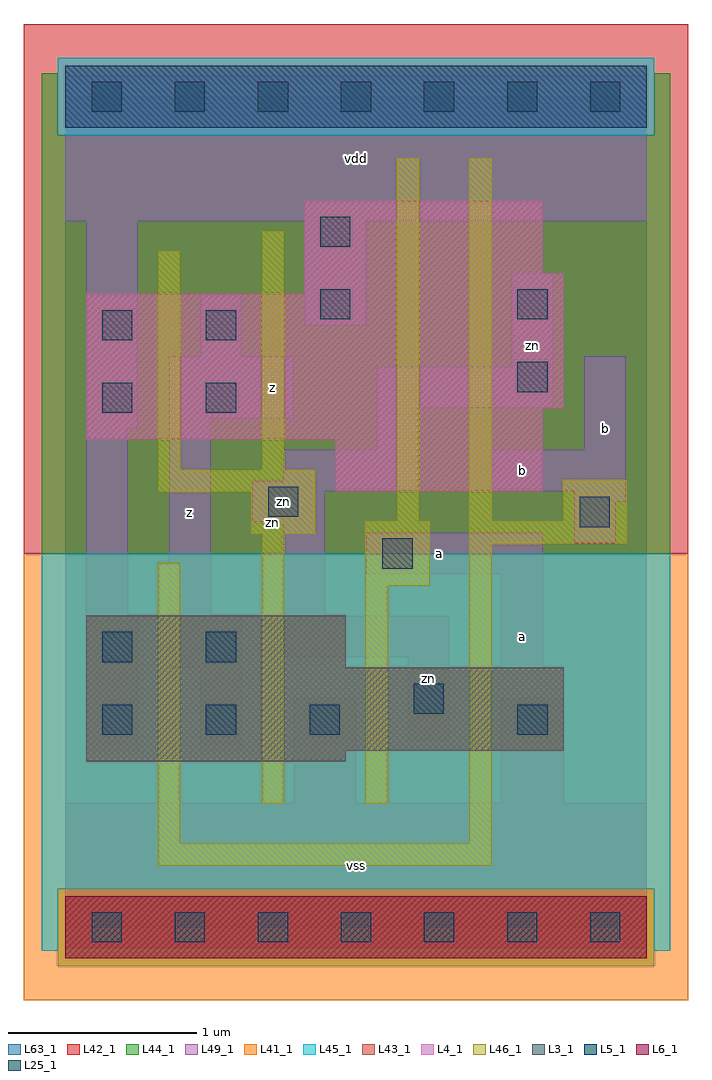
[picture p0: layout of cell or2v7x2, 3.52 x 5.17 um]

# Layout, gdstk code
import gdstk
lib = gdstk.Library(unit=1e-6, precision=1e-09)
def R(c, l, rs):  # rectangles x0, y0, x1, y1
    for r in rs: c.add(gdstk.rectangle(r[:2], r[2:], *l))
def A(c, l, x, y, w, h, nx, ny, dx, dy):  # array of equal rectangles
    R(c, l, [(x+i*dx, y+j*dy, x+i*dx+w, y+j*dy+h) for i in range(nx) for j in range(ny)])
L3_1 = (3, 1)
L4_1 = (4, 1)
L5_1 = (5, 1)
L6_1 = (6, 1)
L25_1 = (25, 1)
L41_1 = (41, 1)
L42_1 = (42, 1)
L43_1 = (43, 1)
L44_1 = (44, 1)
L45_1 = (45, 1)
L46_1 = (46, 1)
L49_1 = (49, 1)
L63_1 = (63, 1)

or2v7x2 = lib.new_cell('or2v7x2')
R(or2v7x2, L3_1, [(0.11,0.88,1.485,0.935), (0.11,0.935,2.64,1.375), (0.11,1.375,1.485,1.65)])
R(or2v7x2, L4_1, [(1.43,2.31,2.53,2.585), (0.11,2.585,2.53,2.75), (0.11,2.75,2.64,3.355), (1.265,3.355,2.64,3.465), (1.265,3.465,2.53,3.85)])
R(or2v7x2, L5_1, [(0,4.235,3.08,4.565)])
R(or2v7x2, L6_1, [(0,-0.165,3.08,0.165)])
A(or2v7x2, L25_1, 0.14, -0.08, 0.16, 0.16, 7, 2, 0.44, 4.4)
A(or2v7x2, L25_1, 0.195, 1.02, 0.16, 0.16, 3, 1, 0.55, 0)
R(or2v7x2, L25_1, [(2.395,1.02,2.555,1.18), (1.845,1.13,2.005,1.29), (0.195,1.405,0.355,1.565), (0.745,1.405,0.905,1.565), (1.68,1.9,1.84,2.06), (2.725,2.12,2.885,2.28), (1.075,2.175,1.235,2.335), (0.195,2.725,0.355,2.885), (0.745,2.725,0.905,2.885), (2.395,2.835,2.555,2.995), (0.195,3.11,0.355,3.27), (0.745,3.11,0.905,3.27), (1.35,3.22,1.51,3.38), (2.395,3.22,2.555,3.38), (1.35,3.605,1.51,3.765)])
R(or2v7x2, L41_1, [(-0.22,-0.385,3.3,1.98)])
R(or2v7x2, L42_1, [(-0.22,1.98,3.3,4.785)])
R(or2v7x2, L43_1, [(0,-0.165,3.08,0.165), (0.11,0.88,1.485,0.935), (0.11,0.935,2.64,1.375), (0.11,1.375,1.485,1.65), (1.43,2.31,2.53,2.585), (0.11,2.585,2.53,2.75), (0.11,2.75,2.64,3.355), (1.265,3.355,2.64,3.465), (1.265,3.465,2.53,3.85), (0,4.235,3.08,4.565)])
R(or2v7x2, L44_1, [(-0.04,-0.205,3.12,0.205), (-0.125,1.98,3.205,4.195), (-0.125,4.195,-0.04,4.525), (3.12,4.195,3.205,4.525)])
R(or2v7x2, L45_1, [(-0.125,-0.125,-0.04,0.205), (3.12,-0.125,3.205,0.205), (-0.125,0.205,3.205,1.98), (-0.04,4.195,3.12,4.605)])
R(or2v7x2, L46_1, [(0.49,0.325,2.26,0.445), (0.49,0.445,0.61,1.93), (2.14,0.445,2.26,2.03), (1.04,0.655,1.16,2.085), (1.59,0.655,1.71,1.81), (1.59,1.81,1.93,2.15), (2.14,2.03,2.975,2.15), (0.985,2.085,1.325,2.305), (1.755,2.15,1.875,4.075), (2.14,2.15,2.26,4.075), (2.635,2.15,2.975,2.37), (0.49,2.305,1.325,2.425), (0.49,2.425,0.61,3.58), (1.04,2.425,1.16,3.69)])
R(or2v7x2, L49_1, [(0,-0.11,3.08,0.66), (1.21,0.66,1.54,1.21), (2.31,0.66,2.64,1.21), (0.11,0.935,0.385,1.65), (0.715,0.935,0.935,1.375), (1.815,0.99,2.035,1.43), (0.55,1.375,0.935,1.65), (2.31,1.375,2.53,1.87), (1.155,1.43,2.035,1.65), (0.11,1.65,0.33,2.64), (0.55,1.65,0.77,2.695), (1.155,1.65,1.375,2.145), (1.595,1.87,2.53,2.09), (2.695,2.035,2.915,2.255), (0.99,2.145,1.375,2.31), (2.695,2.255,2.97,2.31), (0.99,2.31,1.87,2.365), (2.255,2.31,2.97,2.53), (1.155,2.365,1.87,2.53), (1.65,2.53,1.87,2.75), (2.75,2.53,2.97,3.025), (0.11,2.64,0.385,3.74), (0.55,2.695,1.21,3.025), (1.65,2.75,2.585,2.97), (2.365,2.97,2.585,3.465), (0.715,3.025,0.935,3.355), (1.265,3.19,1.595,3.74), (0,3.74,3.08,4.51)])
R(or2v7x2, L63_1, [(0,0,3.08,4.4)])
or2v7x2.add(gdstk.Label('zn', (1.1,2.145), layer=46, texttype=1))
or2v7x2.add(gdstk.Label('zn', (1.155,2.255), layer=49, texttype=1))
or2v7x2.add(gdstk.Label('z', (0.66,2.2), layer=49, texttype=1))
or2v7x2.add(gdstk.Label('z', (1.1,2.86), layer=49, texttype=1))
or2v7x2.add(gdstk.Label('vss', (1.54,0.33), layer=49, texttype=1))
or2v7x2.add(gdstk.Label('zn', (1.925,1.32), layer=49, texttype=1))
or2v7x2.add(gdstk.Label('a', (1.98,1.98), layer=49, texttype=1))
or2v7x2.add(gdstk.Label('vdd', (1.54,4.07), layer=49, texttype=1))
or2v7x2.add(gdstk.Label('a', (2.42,1.54), layer=49, texttype=1))
or2v7x2.add(gdstk.Label('b', (2.42,2.42), layer=49, texttype=1))
or2v7x2.add(gdstk.Label('b', (2.86,2.64), layer=49, texttype=1))
or2v7x2.add(gdstk.Label('zn', (2.475,3.08), layer=49, texttype=1))

lib.write_gds('or2v7x2.gds')
